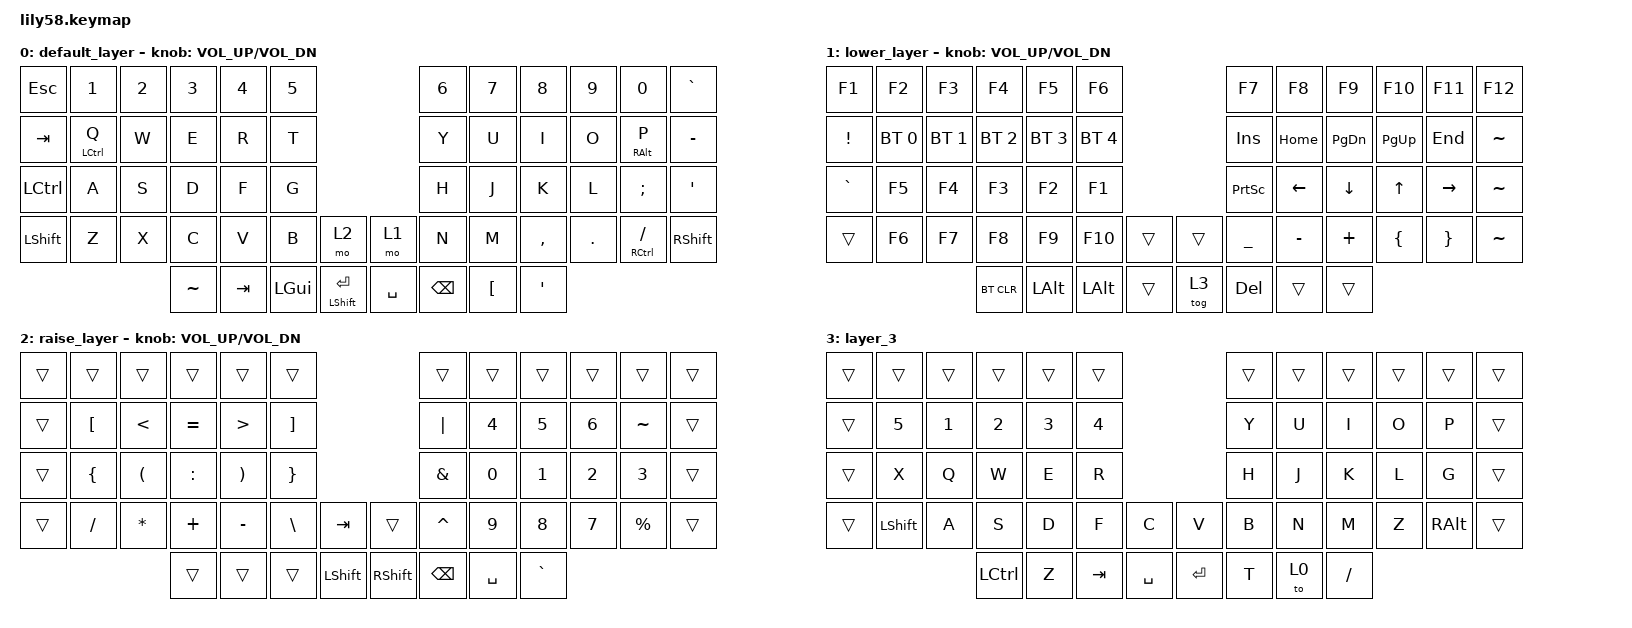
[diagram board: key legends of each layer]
/*
 * Copyright (c) 2020 The ZMK Contributors
 *
 * SPDX-License-Identifier: MIT
 */

#include <behaviors.dtsi>
#include <dt-bindings/zmk/bt.h>
#include <dt-bindings/zmk/keys.h>

#define BASE 0
#define LOWER 1
#define RAISE 2
#define FUNC 3

/ {
    combos {
        compatible = "zmk,combos";

        esc {
            bindings = <&kp ESCAPE>;
            key-positions = <13 25>;
        };
    };

    keymap {
        compatible = "zmk,keymap";

        default_layer {
            // ------------------------------------------------------------------------------------------------------------
            // |  Q  |  W  |  E   |  R   |  T   |                   |  Y   |  U    |  I    |  O   |   P   |
            // |  A  |  S  |  D   |  F   |  G   |                   |  H   |  J    |  K    |  L   |   ;   |
            // |  Z  |  X  |  C   |  V   |  B   |   cmd |   | tog 2 |  N   |  M    |  ,    |  .   |   /   |
            //                    | ALT  | TAB  | Enter |   | SPACE | BACKSPACE | LSHFT| ESCAPE  |

            bindings = <
&kp ESC    &kp N1       &kp N2  &kp N3     &kp N4   &kp N5                                       &kp N6         &kp N7            &kp N8     &kp N9   &kp N0           &kp GRAVE
&kp TAB    &mt LCTRL Q  &kp W   &kp E      &kp R    &kp T                                        &kp Y          &kp U             &kp I      &kp O    &mt RIGHT_ALT P  &kp MINUS
&kp LCTRL  &kp A        &kp S   &kp D      &kp F    &kp G                                        &kp H          &kp J             &kp K      &kp L    &kp SEMI         &kp SQT
&kp LSHFT  &kp Z        &kp X   &kp C      &kp V    &kp B         &mo 2               &mo 1      &kp N          &kp M             &kp COMMA  &kp DOT  &mt RCTRL FSLH   &kp RSHFT
                                &kp TILDE  &kp TAB  &kp LEFT_GUI  &mt LSHIFT ENTER    &kp SPACE  &kp BACKSPACE  &kp LEFT_BRACKET  &kp APOS
            >;

            sensor-bindings = <&inc_dec_kp C_VOL_UP C_VOL_DN>;
        };

        lower_layer {
            // ------------------------------------------------------------------------------------------------------------
            // | BT 0 |  BT 1 |  BT 2  |  BT 3  |  BT 4  |                   	|  F7  |  F8   |  F9   |  F10 |  F11  |
            // | BT_CLR  |  @  |  #   |  $   |  %   |                   	|  ^   |  &    |  *    |  (   |   )   |
            // |     |     |      |      |      |        |  		|       |      |  _    |  +    |  {   |   }   |
            //                     |      |      |      |        |  	|       |      |       |       |

            bindings = <
&kp F1     &kp F2        &kp F3        &kp F4        &kp F5        &kp F6                          &kp F7           &kp F8          &kp F9          &kp F10       &kp F11          &kp F12
&kp EXCL   &bt BT_SEL 0  &bt BT_SEL 1  &bt BT_SEL 2  &bt BT_SEL 3  &bt BT_SEL 4                    &kp INS          &kp HOME        &kp PG_DN       &kp PAGE_UP   &kp END          &kp TILDE
&kp GRAVE  &kp F5        &kp F4        &kp F3        &kp F2        &kp F1                          &kp PRINTSCREEN  &kp LEFT_ARROW  &kp DOWN_ARROW  &kp UP_ARROW  &kp RIGHT_ARROW  &kp TILDE
&trans     &kp F6        &kp F7        &kp F8        &kp F9        &kp F10       &trans    &trans  &kp UNDER        &kp MINUS       &kp PLUS        &kp LBRC      &kp RBRC         &kp TILDE
                                       &bt BT_CLR    &kp LEFT_ALT  &kp LEFT_ALT  &trans    &tog 3  &kp DELETE       &trans          &trans
            >;

            sensor-bindings = <&inc_dec_kp C_VOL_UP C_VOL_DN>;
        };

        raise_layer {
            // ------------------------------------------------------------------------------------------------------------
            // |   `   |  1  |  2  |  3   |  4   |                   |  6   |   7   |   8   |  9   |   0   | 
            // |   F1  |  F2 |  F3 |  F4  |  F5  |                   |      |   <-  |   v   |  ^   |  ->   |
            // |   F7  |  F8 |  F9 |  F10 |  F11 |        |  |       |  +   |   -   |   =   |  [   |   ]   |
            //                     |      |      |      |        |  |       |      |       |       |

            bindings = <
&trans  &trans            &trans                &trans     &trans                 &trans                                      &trans         &trans     &trans     &trans  &trans       &trans
&trans  &kp LEFT_BRACKET  &kp LT                &kp EQUAL  &kp GREATER_THAN       &kp RIGHT_BRACKET                           &kp PIPE       &kp N4     &kp N5     &kp N6  &kp TILDE    &trans
&trans  &kp LEFT_BRACE    &kp LEFT_PARENTHESIS  &kp COLON  &kp RIGHT_PARENTHESIS  &kp RIGHT_BRACE                             &kp AMPS       &kp N0     &kp N1     &kp N2  &kp N3       &trans
&trans  &kp SLASH         &kp STAR              &kp PLUS   &kp MINUS              &kp BACKSLASH      &kp TAB      &trans      &kp CARET      &kp N9     &kp N8     &kp N7  &kp PERCENT  &trans
                                                &trans     &trans                 &trans             &kp LSHFT    &kp RSHIFT  &kp BACKSPACE  &kp SPACE  &kp GRAVE
            >;

            sensor-bindings = <&inc_dec_kp C_VOL_UP C_VOL_DN>;
        };

        layer_3 {
            bindings = <
&trans  &trans          &trans        &trans        &trans        &trans                                &trans  &trans  &trans     &trans  &trans         &trans
&trans  &kp NUMBER_5    &kp NUMBER_1  &kp NUMBER_2  &kp NUMBER_3  &kp NUMBER_4                          &kp Y   &kp U   &kp I      &kp O   &kp P          &trans
&trans  &kp X           &kp Q         &kp W         &kp E         &kp R                                 &kp H   &kp J   &kp K      &kp L   &kp G          &trans
&trans  &kp LEFT_SHIFT  &kp A         &kp S         &kp D         &kp F         &kp C        &kp V      &kp B   &kp N   &kp M      &kp Z   &kp RIGHT_ALT  &trans
                                      &kp LCTRL     &kp Z         &kp TAB       &kp SPACE    &kp ENTER  &kp T   &to 0   &kp SLASH
            >;
        };
    };
};
